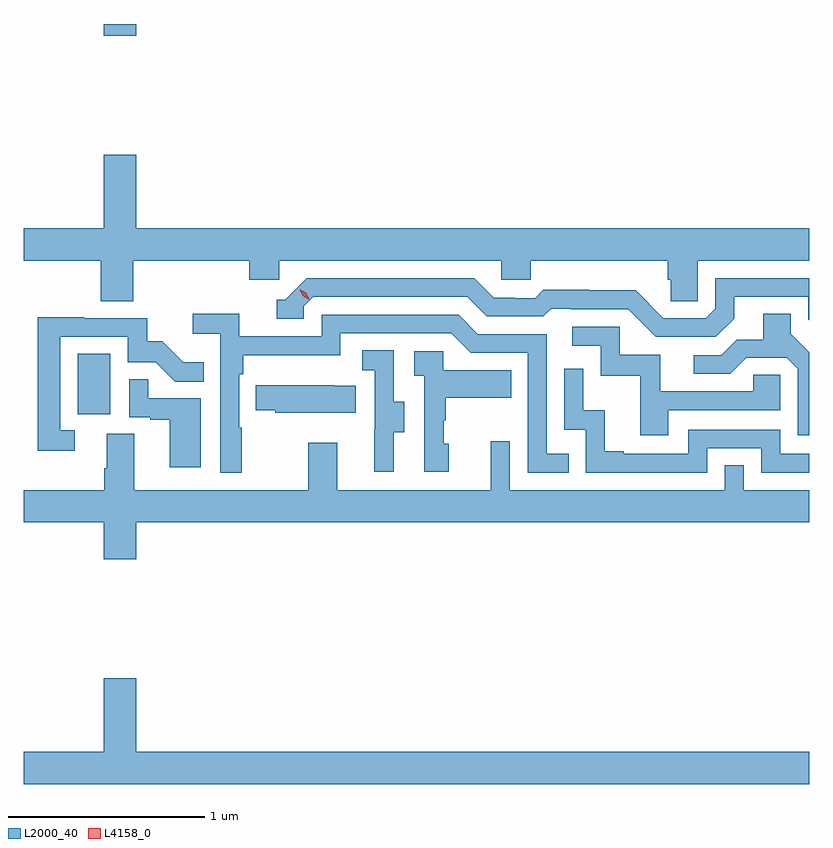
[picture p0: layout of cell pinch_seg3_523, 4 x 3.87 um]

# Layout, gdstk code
import gdstk
lib = gdstk.Library(unit=1e-6, precision=1e-09)
def R(c, l, rs):  # rectangles x0, y0, x1, y1
    for r in rs: c.add(gdstk.rectangle(r[:2], r[2:], *l))
def P(c, l, *ps):  # polygons
    for p in ps: c.add(gdstk.Polygon(p, *l))
L2000_40 = (2000, 40)
L4158_0 = (4158, 0)

pinch_seg3_523 = lib.new_cell('pinch_seg3_523')
R(pinch_seg3_523, L2000_40, [(1141.898,702.798,1142.062,703.105), (1142.03,704.724,1142.194,704.784)])
P(pinch_seg3_523, L2000_40, [(1142.18,703.58),(1142.771,703.58),(1142.771,703.482),(1142.922,703.482),(1142.922,703.58),(1144.053,703.58),(1144.053,703.482),(1144.203,703.482),(1144.203,703.58),(1144.901,703.58),(1144.901,703.482),(1144.915,703.482),(1144.915,703.372),(1145.052,703.372),(1145.052,703.58),(1145.621,703.58),(1145.621,703.744),(1142.194,703.744),(1142.194,704.119),(1142.03,704.119),(1142.03,703.744),(1141.621,703.744),(1141.621,703.58),(1142.015,703.58),(1142.015,703.372),(1142.18,703.372)],
  [(1145.239,703.285),(1145.239,703.395),(1145.616,703.395),(1145.616,703.281),(1145.621,703.276),(1145.621,703.491),(1145.142,703.491),(1145.142,703.335),(1145.094,703.287),(1144.878,703.287),(1144.736,703.429),(1144.5,703.429),(1144.5,703.432),(1144.267,703.432),(1144.225,703.389),(1144.122,703.389),(1144.122,703.392),(1144.015,703.392),(1143.916,703.491),(1143.063,703.491),(1142.952,703.38),(1142.909,703.38),(1142.909,703.284),(1143.048,703.284),(1143.048,703.347),(1143.096,703.395),(1143.879,703.395),(1143.978,703.296),(1144.267,703.296),(1144.306,703.335),(1144.405,703.335),(1144.405,703.332),(1144.698,703.332),(1144.839,703.191),(1145.145,703.191)],
  [(1145.621,703.114),(1145.527,703.208),(1145.527,703.31),(1145.387,703.31),(1145.387,703.178),(1145.252,703.178),(1145.172,703.098),(1145.031,703.098),(1145.031,703.005),(1145.218,703.005),(1145.299,703.086),(1145.505,703.086),(1145.562,703.029),(1145.562,702.69),(1145.621,702.69)],
  [(1142.731,702.728),(1142.718,702.728),(1142.718,703.001),(1142.738,703.001),(1142.738,703.097),(1143.234,703.097),(1143.234,703.209),(1143.798,703.209),(1143.897,703.11),(1144.188,703.11),(1144.188,702.501),(1144.397,702.501),(1144.397,702.597),(1144.284,702.597),(1144.284,703.206),(1143.934,703.206),(1143.835,703.305),(1143.138,703.305),(1143.138,703.194),(1142.72,703.194),(1142.72,703.31),(1142.481,703.31),(1142.481,703.208),(1142.622,703.208),(1142.622,702.501),(1142.731,702.501)],
  [(1141.882,702.717),(1141.809,702.717),(1141.809,703.191),(1142.151,703.191),(1142.151,703.062),(1142.295,703.062),(1142.393,702.964),(1142.537,702.964),(1142.537,703.063),(1142.433,703.063),(1142.326,703.17),(1142.25,703.17),(1142.25,703.287),(1141.931,703.287),(1141.931,703.292),(1141.693,703.292),(1141.693,702.612),(1141.882,702.612)],
  [(1144.903,702.819),(1145.472,702.819),(1145.472,702.999),(1145.335,702.999),(1145.335,702.915),(1144.861,702.915),(1144.861,703.101),(1144.656,703.101),(1144.656,703.242),(1144.413,703.242),(1144.413,703.146),(1144.56,703.146),(1144.56,702.993),(1144.759,702.993),(1144.759,702.69),(1144.903,702.69)],
  [(1143.505,702.706),(1143.559,702.706),(1143.559,702.861),(1143.504,702.861),(1143.504,703.124),(1143.345,703.124),(1143.345,703.021),(1143.408,703.021),(1143.408,702.717),(1143.407,702.717),(1143.407,702.504),(1143.505,702.504)],
  [(1143.784,702.648),(1143.759,702.648),(1143.759,702.767),(1143.769,702.767),(1143.769,702.881),(1144.103,702.881),(1144.103,703.021),(1143.756,703.021),(1143.756,703.119),(1143.609,703.119),(1143.609,702.995),(1143.66,702.995),(1143.66,702.504),(1143.784,702.504)],
  [(1145.1,702.624),(1145.376,702.624),(1145.376,702.501),(1145.621,702.501),(1145.621,702.597),(1145.472,702.597),(1145.472,702.72),(1145.004,702.72),(1145.004,702.597),(1144.675,702.597),(1144.675,702.61),(1144.58,702.61),(1144.58,702.818),(1144.47,702.818),(1144.47,703.03),(1144.374,703.03),(1144.374,702.72),(1144.482,702.72),(1144.482,702.501),(1145.1,702.501)],
  [(1142.524,702.879),(1142.255,702.879),(1142.255,702.977),(1142.16,702.977),(1142.16,702.783),(1142.267,702.783),(1142.267,702.771),(1142.366,702.771),(1142.366,702.528),(1142.524,702.528)],
  [(1143.311,702.943),(1143.203,702.943),(1143.203,702.946),(1142.803,702.946),(1142.803,702.817),(1142.901,702.817),(1142.901,702.806),(1143.311,702.806)],
  [(1142.194,702.248),(1145.621,702.248),(1145.621,702.412),(1145.286,702.412),(1145.286,702.539),(1145.19,702.539),(1145.19,702.412),(1144.095,702.412),(1144.095,702.661),(1143.998,702.661),(1143.998,702.412),(1143.217,702.412),(1143.217,702.652),(1143.07,702.652),(1143.07,702.412),(1142.185,702.412),(1142.185,702.698),(1142.045,702.698),(1142.045,702.524),(1142.033,702.524),(1142.033,702.412),(1141.621,702.412),(1141.621,702.248),(1142.03,702.248),(1142.03,702.06),(1142.194,702.06)],
  [(1145.621,701.08),(1142.194,701.08),(1142.194,701.455),(1142.03,701.455),(1142.03,701.08),(1141.621,701.08),(1141.621,700.916),(1145.621,700.916)])
P(pinch_seg3_523, L4158_0, [(1143.073,703.382),(1143.042,703.402),(1143.026,703.434),(1143.026,703.434),(1143.026,703.434),(1143.057,703.415),(1143.074,703.383),(1143.074,703.382)])

lib.write_gds('pinch_seg3_523.gds')
